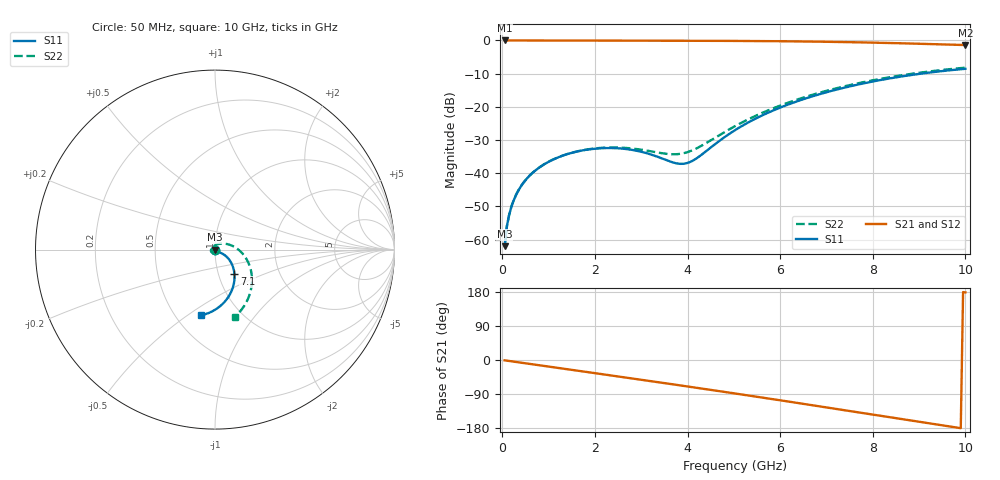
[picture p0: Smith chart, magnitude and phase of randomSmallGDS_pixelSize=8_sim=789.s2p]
! freq	dB(S11)	phase(S11)	dB(S12)	phase(S12)
!  dB(S21)	phase(S21)	dB(S22)	phase(S22)
!S-par simulation data
#  GHz  S  DB  R 50
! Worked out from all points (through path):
!   200 points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, 50 MHz to 10 GHz, reference 50 ohm
!   highest |S21| = 0.00 dB at 50 MHz (marker M1); lowest = -1.4 dB at 10 GHz (marker M2)
!   group delay of S21, straight-line fit = 50.6 ps
!   lowest |S11| = -62.0 dB at 50 MHz (marker M3), VSWR 1.00, Z = 50 - j0.0795 ohm
!   |S11| at or under -10 dB: start of sweep to 9.041 GHz
!   |S22| runs from -61.9 to -8.2 dB; largest |S21 - S12| = 0
!   S11 on the Smith chart (normalised r, x): 50 MHz: 1.00, -0.00; 7.1 GHz: 1.19, -0.33; 10 GHz: 0.66, -0.57
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0.05  -61.99 -88.8  -0.00 -0.9  -0.00 -0.9  -61.90 -89.2
0.1  -55.97 -90.5  -0.00 -1.7  -0.00 -1.7  -55.89 -91.3
0.15  -52.46 -91.6  -0.00 -2.6  -0.00 -2.6  -52.38 -92.8
0.2  -49.97 -92.6  -0.00 -3.5  -0.00 -3.5  -49.89 -94.1
0.35  -45.15 -95.0  -0.01 -6.1  -0.01 -6.1  -45.09 -97.8
0.5  -42.13 -97.3  -0.01 -8.7  -0.01 -8.7  -42.08 -101.4
0.7  -39.35 -100.3  -0.01 -12.2  -0.01 -12.2  -39.31 -106.0
1  -36.56 -104.5  -0.02 -17.4  -0.02 -17.4  -36.54 -113.1
1.35  -34.49 -109.2  -0.03 -23.4  -0.03 -23.4  -34.46 -121.4
1.75  -33.09 -114.1  -0.04 -30.3  -0.04 -30.3  -33.03 -131.6
2.6  -32.61 -121.1  -0.05 -45.1  -0.05 -45.1  -32.32 -157.3
3  -33.53 -120.6  -0.06 -52.1  -0.06 -52.1  -32.91 -174.1
3.4  -35.30 -113.0  -0.07 -59.2  -0.07 -59.2  -33.87 162.2
3.8  -37.12 -89.4  -0.08 -66.3  -0.08 -66.3  -34.23 128.2
4.05  -36.65 -65.9  -0.09 -70.7  -0.09 -70.7  -33.40 104.1
5.05  -26.82 -28.9  -0.14 -88.8  -0.14 -88.8  -25.64 40.1
5.8  -21.39 -33.1  -0.21 -102.6  -0.21 -102.6  -20.72 15.3
6.7  -16.82 -45.1  -0.34 -119.4  -0.34 -119.4  -16.35 -7.3
7.1  -15.23 -51.3  -0.42 -127.0  -0.42 -127.0  -14.81 -16.4
8.35  -11.47 -72.5  -0.76 -150.7  -0.76 -150.7  -11.12 -42.4
9.15  -9.80 -86.7  -1.05 -165.9  -1.05 -165.9  -9.46 -57.9
10  -8.54 -102.0  -1.39 178.3  -1.39 178.3  -8.20 -73.4
